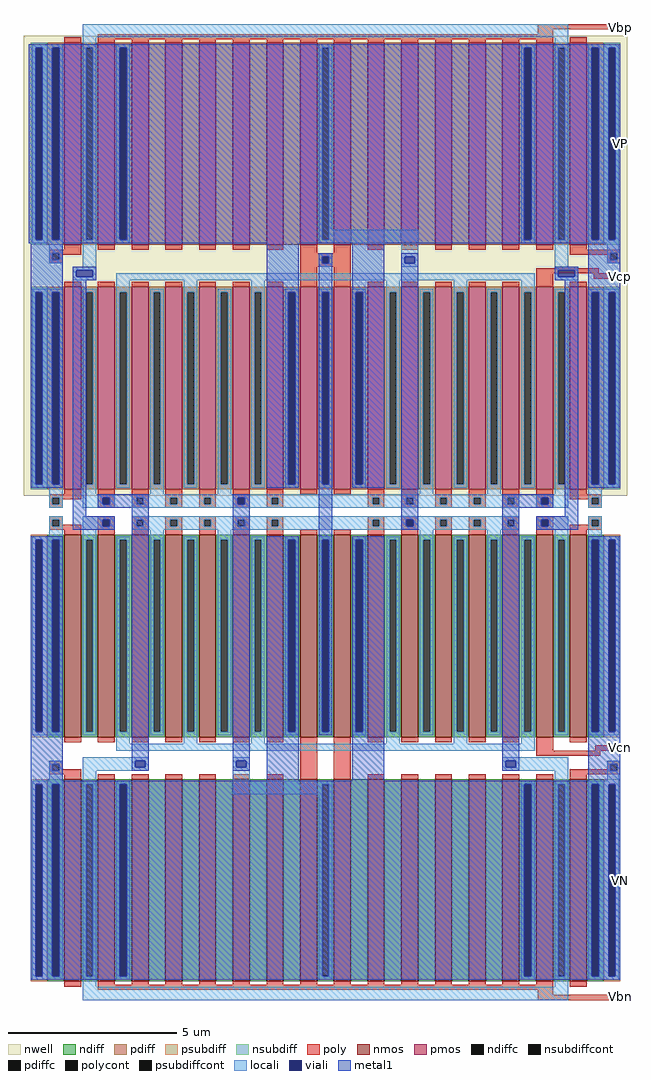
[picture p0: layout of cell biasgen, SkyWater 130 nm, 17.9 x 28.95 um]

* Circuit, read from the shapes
.subckt biasgen Vbp VP Vcp Vcn VN Vbn
XM1 Vcp VN VN VN sky130_fd_pr__nfet_01v8 w=6 l=0.5 m=2
XM2 Vcn VN VN VN sky130_fd_pr__nfet_01v8 w=6 l=0.5 m=2
XM3 VN Vbn Vcp VN sky130_fd_pr__nfet_01v8 w=6 l=0.5 m=2
XM4 n1 Vcn Vcn VN sky130_fd_pr__nfet_01v8 w=6 l=0.5 m=2
XM5 n2 Vbn VN VN sky130_fd_pr__nfet_01v8 w=6 l=0.5
XM6 n3 n3 n1 VN sky130_fd_pr__nfet_01v8 w=6 l=0.5 m=8
XM7 n4 Vbn n2 VN sky130_fd_pr__nfet_01v8 w=6 l=0.5
XM8 n5 Vbn n4 VN sky130_fd_pr__nfet_01v8 w=6 l=0.5
XM9 n6 Vbn n5 VN sky130_fd_pr__nfet_01v8 w=6 l=0.5
XM10 n7 Vbn n6 VN sky130_fd_pr__nfet_01v8 w=6 l=0.5
XM11 VN n3 n1 VN sky130_fd_pr__nfet_01v8 w=6 l=0.5 m=2
XM12 n8 Vbn n7 VN sky130_fd_pr__nfet_01v8 w=6 l=0.5
XM13 Vbp Vbn VN VN sky130_fd_pr__nfet_01v8 w=6 l=0.5 m=2
XM14 n9 Vbn n8 VN sky130_fd_pr__nfet_01v8 w=6 l=0.5
XM15 n10 Vbn n9 VN sky130_fd_pr__nfet_01v8 w=6 l=0.5
XM16 n11 Vbn n10 VN sky130_fd_pr__nfet_01v8 w=6 l=0.5
XM17 n12 Vbn n11 VN sky130_fd_pr__nfet_01v8 w=6 l=0.5
XM18 n13 Vbn n12 VN sky130_fd_pr__nfet_01v8 w=6 l=0.5
XM19 VN Vbn n13 VN sky130_fd_pr__nfet_01v8 w=6 l=0.5
XM20 Vcp VP VP VP sky130_fd_pr__pfet_01v8 w=6 l=0.5 m=2
XM21 Vcn VP VP VP sky130_fd_pr__pfet_01v8 w=6 l=0.5 m=2
XM22 n14 Vcp Vcp VP sky130_fd_pr__pfet_01v8 w=6 l=0.5 m=2
XM23 VP Vbp Vcn VP sky130_fd_pr__pfet_01v8 w=6 l=0.5 m=2
XM24 n8 n8 n14 VP sky130_fd_pr__pfet_01v8 w=6 l=0.5 m=8
XM25 n15 Vbp VP VP sky130_fd_pr__pfet_01v8 w=6 l=0.5
XM26 n16 Vbp n15 VP sky130_fd_pr__pfet_01v8 w=6 l=0.5
XM27 n17 Vbp n16 VP sky130_fd_pr__pfet_01v8 w=6 l=0.5
XM28 n18 Vbp n17 VP sky130_fd_pr__pfet_01v8 w=6 l=0.5
XM29 VP n8 n14 VP sky130_fd_pr__pfet_01v8 w=6 l=0.5 m=2
XM30 n19 Vbp n18 VP sky130_fd_pr__pfet_01v8 w=6 l=0.5
XM31 Vbp Vbp VP VP sky130_fd_pr__pfet_01v8 w=6 l=0.5 m=2
XM32 n3 Vbp n19 VP sky130_fd_pr__pfet_01v8 w=6 l=0.5
XM33 n20 Vbp n3 VP sky130_fd_pr__pfet_01v8 w=6 l=0.5
XM34 n21 Vbp n20 VP sky130_fd_pr__pfet_01v8 w=6 l=0.5
XM35 n22 Vbp n21 VP sky130_fd_pr__pfet_01v8 w=6 l=0.5
XM36 n23 Vbp n22 VP sky130_fd_pr__pfet_01v8 w=6 l=0.5
XM37 n24 Vbp n23 VP sky130_fd_pr__pfet_01v8 w=6 l=0.5
XM38 VP Vbp n24 VP sky130_fd_pr__pfet_01v8 w=6 l=0.5
.ends

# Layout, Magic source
magic
tech sky130A
<< nwell >>
rect -115 695 1675 2060
<< nmos >>
rect 5 -20 55 580
rect 105 -20 155 580
rect 205 -20 255 580
rect 305 -20 355 580
rect 405 -20 455 580
rect 505 -20 555 580
rect 605 -20 655 580
rect 705 -20 755 580
rect 805 -20 855 580
rect 905 -20 955 580
rect 1005 -20 1055 580
rect 1105 -20 1155 580
rect 1205 -20 1255 580
rect 1305 -20 1355 580
rect 1405 -20 1455 580
rect 1505 -20 1555 580
rect 5 -745 55 -145
rect 105 -745 155 -145
rect 205 -745 255 -145
rect 305 -745 355 -145
rect 405 -745 455 -145
rect 505 -745 555 -145
rect 605 -745 655 -145
rect 705 -745 755 -145
rect 805 -745 855 -145
rect 905 -745 955 -145
rect 1005 -745 1055 -145
rect 1105 -745 1155 -145
rect 1205 -745 1255 -145
rect 1305 -745 1355 -145
rect 1405 -745 1455 -145
rect 1505 -745 1555 -145
<< pmos >>
rect 5 1440 55 2040
rect 105 1440 155 2040
rect 205 1440 255 2040
rect 305 1440 355 2040
rect 405 1440 455 2040
rect 505 1440 555 2040
rect 605 1440 655 2040
rect 705 1440 755 2040
rect 805 1440 855 2040
rect 905 1440 955 2040
rect 1005 1440 1055 2040
rect 1105 1440 1155 2040
rect 1205 1440 1255 2040
rect 1305 1440 1355 2040
rect 1405 1440 1455 2040
rect 1505 1440 1555 2040
rect 5 715 55 1315
rect 105 715 155 1315
rect 205 715 255 1315
rect 305 715 355 1315
rect 405 715 455 1315
rect 505 715 555 1315
rect 605 715 655 1315
rect 705 715 755 1315
rect 805 715 855 1315
rect 905 715 955 1315
rect 1005 715 1055 1315
rect 1105 715 1155 1315
rect 1205 715 1255 1315
rect 1305 715 1355 1315
rect 1405 715 1455 1315
rect 1505 715 1555 1315
<< ndiff >>
rect -45 565 5 580
rect -45 -5 -30 565
rect -10 -5 5 565
rect -45 -20 5 -5
rect 55 565 105 580
rect 55 -5 70 565
rect 90 -5 105 565
rect 55 -20 105 -5
rect 155 565 205 580
rect 155 -5 170 565
rect 190 -5 205 565
rect 155 -20 205 -5
rect 255 565 305 580
rect 255 -5 270 565
rect 290 -5 305 565
rect 255 -20 305 -5
rect 355 565 405 580
rect 355 -5 370 565
rect 390 -5 405 565
rect 355 -20 405 -5
rect 455 565 505 580
rect 455 -5 470 565
rect 490 -5 505 565
rect 455 -20 505 -5
rect 555 565 605 580
rect 555 -5 570 565
rect 590 -5 605 565
rect 555 -20 605 -5
rect 655 565 705 580
rect 655 -5 670 565
rect 690 -5 705 565
rect 655 -20 705 -5
rect 755 565 805 580
rect 755 -5 770 565
rect 790 -5 805 565
rect 755 -20 805 -5
rect 855 565 905 580
rect 855 -5 870 565
rect 890 -5 905 565
rect 855 -20 905 -5
rect 955 565 1005 580
rect 955 -5 970 565
rect 990 -5 1005 565
rect 955 -20 1005 -5
rect 1055 565 1105 580
rect 1055 -5 1070 565
rect 1090 -5 1105 565
rect 1055 -20 1105 -5
rect 1155 565 1205 580
rect 1155 -5 1170 565
rect 1190 -5 1205 565
rect 1155 -20 1205 -5
rect 1255 565 1305 580
rect 1255 -5 1270 565
rect 1290 -5 1305 565
rect 1255 -20 1305 -5
rect 1355 565 1405 580
rect 1355 -5 1370 565
rect 1390 -5 1405 565
rect 1355 -20 1405 -5
rect 1455 565 1505 580
rect 1455 -5 1470 565
rect 1490 -5 1505 565
rect 1455 -20 1505 -5
rect 1555 565 1605 580
rect 1555 -5 1570 565
rect 1590 -5 1605 565
rect 1555 -20 1605 -5
rect -45 -160 5 -145
rect -45 -730 -30 -160
rect -10 -730 5 -160
rect -45 -745 5 -730
rect 55 -160 105 -145
rect 55 -730 70 -160
rect 90 -730 105 -160
rect 55 -745 105 -730
rect 155 -160 205 -145
rect 155 -730 170 -160
rect 190 -730 205 -160
rect 155 -745 205 -730
rect 255 -745 305 -145
rect 355 -745 405 -145
rect 455 -745 505 -145
rect 555 -745 605 -145
rect 655 -745 705 -145
rect 755 -160 805 -145
rect 755 -730 770 -160
rect 790 -730 805 -160
rect 755 -745 805 -730
rect 855 -745 905 -145
rect 955 -745 1005 -145
rect 1055 -745 1105 -145
rect 1155 -745 1205 -145
rect 1255 -745 1305 -145
rect 1355 -160 1405 -145
rect 1355 -730 1370 -160
rect 1390 -730 1405 -160
rect 1355 -745 1405 -730
rect 1455 -160 1505 -145
rect 1455 -730 1470 -160
rect 1490 -730 1505 -160
rect 1455 -745 1505 -730
rect 1555 -160 1605 -145
rect 1555 -730 1570 -160
rect 1590 -730 1605 -160
rect 1555 -745 1605 -730
<< pdiff >>
rect -45 2025 5 2040
rect -45 1455 -30 2025
rect -10 1455 5 2025
rect -45 1440 5 1455
rect 55 2025 105 2040
rect 55 1455 70 2025
rect 90 1455 105 2025
rect 55 1440 105 1455
rect 155 2025 205 2040
rect 155 1455 170 2025
rect 190 1455 205 2025
rect 155 1440 205 1455
rect 255 1440 305 2040
rect 355 1440 405 2040
rect 455 1440 505 2040
rect 555 1440 605 2040
rect 655 1440 705 2040
rect 755 2025 805 2040
rect 755 1455 770 2025
rect 790 1455 805 2025
rect 755 1440 805 1455
rect 855 1440 905 2040
rect 955 1440 1005 2040
rect 1055 1440 1105 2040
rect 1155 1440 1205 2040
rect 1255 1440 1305 2040
rect 1355 2025 1405 2040
rect 1355 1455 1370 2025
rect 1390 1455 1405 2025
rect 1355 1440 1405 1455
rect 1455 2025 1505 2040
rect 1455 1455 1470 2025
rect 1490 1455 1505 2025
rect 1455 1440 1505 1455
rect 1555 2025 1605 2040
rect 1555 1455 1570 2025
rect 1590 1455 1605 2025
rect 1555 1440 1605 1455
rect -45 1300 5 1315
rect -45 730 -30 1300
rect -10 730 5 1300
rect -45 715 5 730
rect 55 1300 105 1315
rect 55 730 70 1300
rect 90 730 105 1300
rect 55 715 105 730
rect 155 1300 205 1315
rect 155 730 170 1300
rect 190 730 205 1300
rect 155 715 205 730
rect 255 1300 305 1315
rect 255 730 270 1300
rect 290 730 305 1300
rect 255 715 305 730
rect 355 1300 405 1315
rect 355 730 370 1300
rect 390 730 405 1300
rect 355 715 405 730
rect 455 1300 505 1315
rect 455 730 470 1300
rect 490 730 505 1300
rect 455 715 505 730
rect 555 1300 605 1315
rect 555 730 570 1300
rect 590 730 605 1300
rect 555 715 605 730
rect 655 1300 705 1315
rect 655 730 670 1300
rect 690 730 705 1300
rect 655 715 705 730
rect 755 1300 805 1315
rect 755 730 770 1300
rect 790 730 805 1300
rect 755 715 805 730
rect 855 1300 905 1315
rect 855 730 870 1300
rect 890 730 905 1300
rect 855 715 905 730
rect 955 1300 1005 1315
rect 955 730 970 1300
rect 990 730 1005 1300
rect 955 715 1005 730
rect 1055 1300 1105 1315
rect 1055 730 1070 1300
rect 1090 730 1105 1300
rect 1055 715 1105 730
rect 1155 1300 1205 1315
rect 1155 730 1170 1300
rect 1190 730 1205 1300
rect 1155 715 1205 730
rect 1255 1300 1305 1315
rect 1255 730 1270 1300
rect 1290 730 1305 1300
rect 1255 715 1305 730
rect 1355 1300 1405 1315
rect 1355 730 1370 1300
rect 1390 730 1405 1300
rect 1355 715 1405 730
rect 1455 1300 1505 1315
rect 1455 730 1470 1300
rect 1490 730 1505 1300
rect 1455 715 1505 730
rect 1555 1300 1605 1315
rect 1555 730 1570 1300
rect 1590 730 1605 1300
rect 1555 715 1605 730
<< ndiffc >>
rect -30 -5 -10 565
rect 70 -5 90 565
rect 170 -5 190 565
rect 270 -5 290 565
rect 370 -5 390 565
rect 470 -5 490 565
rect 570 -5 590 565
rect 670 -5 690 565
rect 770 -5 790 565
rect 870 -5 890 565
rect 970 -5 990 565
rect 1070 -5 1090 565
rect 1170 -5 1190 565
rect 1270 -5 1290 565
rect 1370 -5 1390 565
rect 1470 -5 1490 565
rect 1570 -5 1590 565
rect -30 -730 -10 -160
rect 70 -730 90 -160
rect 170 -730 190 -160
rect 770 -730 790 -160
rect 1370 -730 1390 -160
rect 1470 -730 1490 -160
rect 1570 -730 1590 -160
<< pdiffc >>
rect -30 1455 -10 2025
rect 70 1455 90 2025
rect 170 1455 190 2025
rect 770 1455 790 2025
rect 1370 1455 1390 2025
rect 1470 1455 1490 2025
rect 1570 1455 1590 2025
rect -30 730 -10 1300
rect 70 730 90 1300
rect 170 730 190 1300
rect 270 730 290 1300
rect 370 730 390 1300
rect 470 730 490 1300
rect 570 730 590 1300
rect 670 730 690 1300
rect 770 730 790 1300
rect 870 730 890 1300
rect 970 730 990 1300
rect 1070 730 1090 1300
rect 1170 730 1190 1300
rect 1270 730 1290 1300
rect 1370 730 1390 1300
rect 1470 730 1490 1300
rect 1570 730 1590 1300
<< psubdiff >>
rect -95 565 -45 580
rect -95 -5 -80 565
rect -60 -5 -45 565
rect -95 -20 -45 -5
rect 1605 565 1655 580
rect 1605 -5 1620 565
rect 1640 -5 1655 565
rect 1605 -20 1655 -5
rect -95 -160 -45 -145
rect -95 -730 -80 -160
rect -60 -730 -45 -160
rect -95 -745 -45 -730
rect 1605 -160 1655 -145
rect 1605 -730 1620 -160
rect 1640 -730 1655 -160
rect 1605 -745 1655 -730
<< nsubdiff >>
rect -95 2025 -45 2040
rect -95 1455 -80 2025
rect -60 1455 -45 2025
rect -95 1440 -45 1455
rect 1605 2025 1655 2040
rect 1605 1455 1620 2025
rect 1640 1455 1655 2025
rect 1605 1440 1655 1455
rect -95 1300 -45 1315
rect -95 730 -80 1300
rect -60 730 -45 1300
rect -95 715 -45 730
rect 1605 1300 1655 1315
rect 1605 730 1620 1300
rect 1640 730 1655 1300
rect 1605 715 1655 730
<< psubdiffcont >>
rect -80 -5 -60 565
rect 1620 -5 1640 565
rect -80 -730 -60 -160
rect 1620 -730 1640 -160
<< nsubdiffcont >>
rect -80 1455 -60 2025
rect 1620 1455 1640 2025
rect -80 730 -60 1300
rect 1620 730 1640 1300
<< poly >>
rect 1410 2080 1655 2095
rect 1410 2065 1455 2080
rect 5 2040 55 2055
rect 105 2050 1455 2065
rect 105 2040 155 2050
rect 205 2040 255 2050
rect 305 2040 355 2050
rect 405 2040 455 2050
rect 505 2040 555 2050
rect 605 2040 655 2050
rect 705 2040 755 2050
rect 805 2040 855 2050
rect 905 2040 955 2050
rect 1005 2040 1055 2050
rect 1105 2040 1155 2050
rect 1205 2040 1255 2050
rect 1305 2040 1355 2050
rect 1405 2040 1455 2050
rect 1505 2040 1555 2055
rect 5 1425 55 1440
rect 105 1425 155 1440
rect 205 1425 255 1440
rect 305 1425 355 1440
rect 405 1425 455 1440
rect 505 1425 555 1440
rect 605 1425 655 1440
rect -40 1415 55 1425
rect -40 1395 -30 1415
rect -10 1410 55 1415
rect 705 1415 755 1440
rect 805 1415 855 1440
rect 905 1425 955 1440
rect 1005 1425 1055 1440
rect 1105 1425 1155 1440
rect 1205 1425 1255 1440
rect 1305 1425 1355 1440
rect 1405 1425 1455 1440
rect 1505 1425 1555 1440
rect -10 1395 0 1410
rect -40 1385 0 1395
rect 705 1405 855 1415
rect 1505 1415 1655 1425
rect 1505 1410 1625 1415
rect 705 1385 770 1405
rect 790 1385 855 1405
rect 1615 1395 1625 1410
rect 1645 1395 1655 1415
rect 1615 1385 1655 1395
rect 705 1375 855 1385
rect 5 1315 55 1330
rect 105 1315 155 1330
rect 205 1315 255 1330
rect 305 1315 355 1330
rect 405 1315 455 1330
rect 505 1315 555 1330
rect 605 1315 655 1330
rect 705 1315 755 1375
rect 805 1315 855 1375
rect 1405 1355 1590 1370
rect 905 1315 955 1330
rect 1005 1315 1055 1330
rect 1105 1315 1155 1330
rect 1205 1315 1255 1330
rect 1305 1315 1355 1330
rect 1405 1315 1455 1355
rect 1575 1340 1655 1355
rect 1505 1315 1555 1330
rect 5 700 55 715
rect -40 690 55 700
rect -40 670 -30 690
rect -10 685 55 690
rect 105 690 155 715
rect -10 670 0 685
rect -40 660 0 670
rect 105 670 120 690
rect 140 670 155 690
rect 105 660 155 670
rect 205 690 255 715
rect 205 670 220 690
rect 240 670 255 690
rect 205 660 255 670
rect 305 690 355 715
rect 305 670 320 690
rect 340 670 355 690
rect 305 660 355 670
rect 405 690 455 715
rect 405 670 420 690
rect 440 670 455 690
rect 405 660 455 670
rect 505 690 555 715
rect 505 670 520 690
rect 540 670 555 690
rect 505 660 555 670
rect 605 690 655 715
rect 705 700 755 715
rect 805 700 855 715
rect 605 670 620 690
rect 640 670 655 690
rect 605 660 655 670
rect 905 690 955 715
rect 905 670 920 690
rect 940 670 955 690
rect 905 660 955 670
rect 1005 690 1055 715
rect 1005 670 1020 690
rect 1040 670 1055 690
rect 1005 660 1055 670
rect 1105 690 1155 715
rect 1105 670 1120 690
rect 1140 670 1155 690
rect 1105 660 1155 670
rect 1205 690 1255 715
rect 1205 670 1220 690
rect 1240 670 1255 690
rect 1205 660 1255 670
rect 1305 690 1355 715
rect 1305 670 1320 690
rect 1340 670 1355 690
rect 1305 660 1355 670
rect 1405 690 1455 715
rect 1405 670 1420 690
rect 1440 670 1455 690
rect 1505 700 1555 715
rect 1505 690 1600 700
rect 1505 685 1570 690
rect 1405 660 1455 670
rect 1560 670 1570 685
rect 1590 670 1600 690
rect 1560 660 1600 670
rect -40 625 0 635
rect -40 605 -30 625
rect -10 610 0 625
rect 105 625 155 635
rect -10 605 55 610
rect -40 595 55 605
rect 5 580 55 595
rect 105 605 120 625
rect 140 605 155 625
rect 105 580 155 605
rect 205 625 255 635
rect 205 605 220 625
rect 240 605 255 625
rect 205 580 255 605
rect 305 625 355 635
rect 305 605 320 625
rect 340 605 355 625
rect 305 580 355 605
rect 405 625 455 635
rect 405 605 420 625
rect 440 605 455 625
rect 405 580 455 605
rect 505 625 555 635
rect 505 605 520 625
rect 540 605 555 625
rect 505 580 555 605
rect 605 625 655 635
rect 605 605 620 625
rect 640 605 655 625
rect 605 580 655 605
rect 905 625 955 635
rect 905 605 920 625
rect 940 605 955 625
rect 705 580 755 595
rect 805 580 855 595
rect 905 580 955 605
rect 1005 625 1055 635
rect 1005 605 1020 625
rect 1040 605 1055 625
rect 1005 580 1055 605
rect 1105 625 1155 635
rect 1105 605 1120 625
rect 1140 605 1155 625
rect 1105 580 1155 605
rect 1205 625 1255 635
rect 1205 605 1220 625
rect 1240 605 1255 625
rect 1205 580 1255 605
rect 1305 625 1355 635
rect 1305 605 1320 625
rect 1340 605 1355 625
rect 1305 580 1355 605
rect 1405 625 1455 635
rect 1405 605 1420 625
rect 1440 605 1455 625
rect 1560 625 1600 635
rect 1560 610 1570 625
rect 1405 580 1455 605
rect 1505 605 1570 610
rect 1590 605 1600 625
rect 1505 595 1600 605
rect 1505 580 1555 595
rect 5 -35 55 -20
rect 105 -35 155 -20
rect 205 -35 255 -20
rect 305 -35 355 -20
rect 405 -35 455 -20
rect 505 -35 555 -20
rect 605 -35 655 -20
rect -40 -100 0 -90
rect -40 -120 -30 -100
rect -10 -115 0 -100
rect -10 -120 55 -115
rect -40 -130 55 -120
rect 5 -145 55 -130
rect 105 -145 155 -130
rect 205 -145 255 -130
rect 305 -145 355 -130
rect 405 -145 455 -130
rect 505 -145 555 -130
rect 605 -145 655 -130
rect 705 -145 755 -20
rect 805 -145 855 -20
rect 905 -35 955 -20
rect 1005 -35 1055 -20
rect 1105 -35 1155 -20
rect 1205 -35 1255 -20
rect 1305 -35 1355 -20
rect 1405 -60 1455 -20
rect 1505 -35 1555 -20
rect 1580 -60 1655 -45
rect 1405 -75 1595 -60
rect 1615 -100 1655 -90
rect 1615 -115 1625 -100
rect 1505 -120 1625 -115
rect 1645 -120 1655 -100
rect 1505 -130 1655 -120
rect 905 -145 955 -130
rect 1005 -145 1055 -130
rect 1105 -145 1155 -130
rect 1205 -145 1255 -130
rect 1305 -145 1355 -130
rect 1405 -145 1455 -130
rect 1505 -145 1555 -130
rect 5 -760 55 -745
rect 105 -755 155 -745
rect 205 -755 255 -745
rect 305 -755 355 -745
rect 405 -755 455 -745
rect 505 -755 555 -745
rect 605 -755 655 -745
rect 705 -755 755 -745
rect 805 -755 855 -745
rect 905 -755 955 -745
rect 1005 -755 1055 -745
rect 1105 -755 1155 -745
rect 1205 -755 1255 -745
rect 1305 -755 1355 -745
rect 1405 -755 1455 -745
rect 105 -770 1455 -755
rect 1505 -760 1555 -745
rect 1410 -785 1455 -770
rect 1410 -800 1655 -785
<< polycont >>
rect -30 1395 -10 1415
rect 770 1385 790 1405
rect 1625 1395 1645 1415
rect -30 670 -10 690
rect 120 670 140 690
rect 220 670 240 690
rect 320 670 340 690
rect 420 670 440 690
rect 520 670 540 690
rect 620 670 640 690
rect 920 670 940 690
rect 1020 670 1040 690
rect 1120 670 1140 690
rect 1220 670 1240 690
rect 1320 670 1340 690
rect 1420 670 1440 690
rect 1570 670 1590 690
rect -30 605 -10 625
rect 120 605 140 625
rect 220 605 240 625
rect 320 605 340 625
rect 420 605 440 625
rect 520 605 540 625
rect 620 605 640 625
rect 920 605 940 625
rect 1020 605 1040 625
rect 1120 605 1140 625
rect 1220 605 1240 625
rect 1320 605 1340 625
rect 1420 605 1440 625
rect 1570 605 1590 625
rect -30 -120 -10 -100
rect 1625 -120 1645 -100
<< locali >>
rect 60 2055 1500 2095
rect -90 2025 0 2035
rect -90 1455 -80 2025
rect -60 1455 -30 2025
rect -10 1455 0 2025
rect -90 1445 0 1455
rect -40 1415 0 1445
rect -40 1395 -30 1415
rect -10 1395 0 1415
rect -40 1385 0 1395
rect 60 2025 100 2055
rect 60 1455 70 2025
rect 90 1455 100 2025
rect 60 1375 100 1455
rect 160 2025 200 2035
rect 160 1455 170 2025
rect 190 1455 200 2025
rect 160 1445 200 1455
rect 760 2025 800 2035
rect 760 1455 770 2025
rect 790 1485 800 2025
rect 1360 2025 1400 2035
rect 790 1455 1055 1485
rect 760 1445 1055 1455
rect 1360 1455 1370 2025
rect 1390 1455 1400 2025
rect 1360 1445 1400 1455
rect 1460 2025 1500 2055
rect 1460 1455 1470 2025
rect 1490 1455 1500 2025
rect 760 1405 800 1415
rect 760 1385 770 1405
rect 790 1385 800 1405
rect 760 1375 800 1385
rect 1005 1405 1055 1445
rect 1005 1385 1015 1405
rect 1045 1385 1055 1405
rect 1005 1375 1055 1385
rect 1460 1375 1500 1455
rect 1560 2025 1650 2035
rect 1560 1455 1570 2025
rect 1590 1455 1620 2025
rect 1640 1455 1650 2025
rect 1560 1445 1650 1455
rect 1615 1425 1650 1445
rect 1615 1415 1655 1425
rect 1615 1395 1625 1415
rect 1645 1395 1655 1415
rect 1615 1385 1655 1395
rect 30 1365 100 1375
rect 30 1345 40 1365
rect 90 1345 100 1365
rect 1460 1365 1530 1375
rect 30 1335 100 1345
rect 160 1335 1400 1355
rect 1460 1345 1470 1365
rect 1520 1345 1530 1365
rect 1460 1335 1530 1345
rect -90 1300 0 1310
rect -90 730 -80 1300
rect -60 730 -30 1300
rect -10 730 0 1300
rect -90 720 0 730
rect -40 690 0 720
rect -40 670 -30 690
rect -10 670 0 690
rect -40 660 0 670
rect 60 1300 100 1310
rect 60 730 70 1300
rect 90 730 100 1300
rect 60 700 100 730
rect 160 1300 200 1335
rect 160 730 170 1300
rect 190 730 200 1300
rect 160 720 200 730
rect 260 1300 300 1310
rect 260 730 270 1300
rect 290 730 300 1300
rect 260 700 300 730
rect 360 1300 400 1335
rect 360 730 370 1300
rect 390 730 400 1300
rect 360 720 400 730
rect 460 1300 500 1310
rect 460 730 470 1300
rect 490 730 500 1300
rect 460 700 500 730
rect 560 1300 600 1335
rect 560 730 570 1300
rect 590 730 600 1300
rect 560 720 600 730
rect 660 1300 700 1310
rect 660 730 670 1300
rect 690 730 700 1300
rect 660 720 700 730
rect 760 1300 800 1310
rect 760 730 770 1300
rect 790 730 800 1300
rect 760 720 800 730
rect 860 1300 900 1310
rect 860 730 870 1300
rect 890 730 900 1300
rect 860 720 900 730
rect 960 1300 1000 1335
rect 960 730 970 1300
rect 990 730 1000 1300
rect 960 720 1000 730
rect 1060 1300 1100 1310
rect 1060 730 1070 1300
rect 1090 730 1100 1300
rect 1060 700 1100 730
rect 1160 1300 1200 1335
rect 1160 730 1170 1300
rect 1190 730 1200 1300
rect 1160 720 1200 730
rect 1260 1300 1300 1310
rect 1260 730 1270 1300
rect 1290 730 1300 1300
rect 1260 700 1300 730
rect 1360 1300 1400 1335
rect 1360 730 1370 1300
rect 1390 730 1400 1300
rect 1360 720 1400 730
rect 1460 1300 1500 1310
rect 1460 730 1470 1300
rect 1490 730 1500 1300
rect 1460 700 1500 730
rect 60 690 155 700
rect 60 670 120 690
rect 140 670 155 690
rect 60 660 155 670
rect 205 690 1355 700
rect 205 670 220 690
rect 240 670 320 690
rect 340 670 420 690
rect 440 670 520 690
rect 540 670 620 690
rect 640 670 920 690
rect 940 670 1020 690
rect 1040 670 1120 690
rect 1140 670 1220 690
rect 1240 670 1320 690
rect 1340 670 1355 690
rect 205 660 1355 670
rect 1405 690 1500 700
rect 1405 670 1420 690
rect 1440 670 1500 690
rect 1405 660 1500 670
rect 1560 1300 1650 1310
rect 1560 730 1570 1300
rect 1590 730 1620 1300
rect 1640 730 1650 1300
rect 1560 720 1650 730
rect 1560 690 1600 720
rect 1560 670 1570 690
rect 1590 670 1600 690
rect 1560 660 1600 670
rect -40 625 0 635
rect -40 605 -30 625
rect -10 605 0 625
rect -40 575 0 605
rect -90 565 0 575
rect -90 -5 -80 565
rect -60 -5 -30 565
rect -10 -5 0 565
rect -90 -15 0 -5
rect 60 625 155 635
rect 60 605 120 625
rect 140 605 155 625
rect 60 595 155 605
rect 205 625 1355 635
rect 205 605 220 625
rect 240 605 320 625
rect 340 605 420 625
rect 440 605 520 625
rect 540 605 620 625
rect 640 605 920 625
rect 940 605 1020 625
rect 1040 605 1120 625
rect 1140 605 1220 625
rect 1240 605 1320 625
rect 1340 605 1355 625
rect 205 595 1355 605
rect 1405 625 1500 635
rect 1405 605 1420 625
rect 1440 605 1500 625
rect 1405 595 1500 605
rect 60 565 100 595
rect 60 -5 70 565
rect 90 -5 100 565
rect 60 -15 100 -5
rect 160 565 200 575
rect 160 -5 170 565
rect 190 -5 200 565
rect 160 -40 200 -5
rect 260 565 300 595
rect 260 -5 270 565
rect 290 -5 300 565
rect 260 -15 300 -5
rect 360 565 400 575
rect 360 -5 370 565
rect 390 -5 400 565
rect 360 -40 400 -5
rect 460 565 500 595
rect 460 -5 470 565
rect 490 -5 500 565
rect 460 -15 500 -5
rect 560 565 600 575
rect 560 -5 570 565
rect 590 -5 600 565
rect 560 -40 600 -5
rect 660 565 700 575
rect 660 -5 670 565
rect 690 -5 700 565
rect 660 -15 700 -5
rect 760 565 800 575
rect 760 -5 770 565
rect 790 -5 800 565
rect 760 -15 800 -5
rect 860 565 900 575
rect 860 -5 870 565
rect 890 -5 900 565
rect 860 -15 900 -5
rect 960 565 1000 575
rect 960 -5 970 565
rect 990 -5 1000 565
rect 960 -40 1000 -5
rect 1060 565 1100 595
rect 1060 -5 1070 565
rect 1090 -5 1100 565
rect 1060 -15 1100 -5
rect 1160 565 1200 575
rect 1160 -5 1170 565
rect 1190 -5 1200 565
rect 1160 -40 1200 -5
rect 1260 565 1300 595
rect 1260 -5 1270 565
rect 1290 -5 1300 565
rect 1260 -15 1300 -5
rect 1360 565 1400 575
rect 1360 -5 1370 565
rect 1390 -5 1400 565
rect 1360 -40 1400 -5
rect 1460 565 1500 595
rect 1460 -5 1470 565
rect 1490 -5 1500 565
rect 1460 -15 1500 -5
rect 1560 625 1600 635
rect 1560 605 1570 625
rect 1590 605 1600 625
rect 1560 575 1600 605
rect 1560 565 1650 575
rect 1560 -5 1570 565
rect 1590 -5 1620 565
rect 1640 -5 1650 565
rect 1560 -15 1650 -5
rect 160 -60 1400 -40
rect 60 -90 255 -80
rect -40 -100 0 -90
rect -40 -120 -30 -100
rect -10 -120 0 -100
rect -40 -150 0 -120
rect -90 -160 0 -150
rect -90 -730 -80 -160
rect -60 -730 -30 -160
rect -10 -730 0 -160
rect -90 -740 0 -730
rect 60 -110 215 -90
rect 245 -110 255 -90
rect 60 -120 255 -110
rect 505 -90 555 -80
rect 505 -110 515 -90
rect 545 -110 555 -90
rect 60 -160 100 -120
rect 505 -150 555 -110
rect 1305 -90 1500 -80
rect 1305 -110 1315 -90
rect 1345 -110 1500 -90
rect 1305 -120 1500 -110
rect 60 -730 70 -160
rect 90 -730 100 -160
rect 60 -760 100 -730
rect 160 -160 200 -150
rect 160 -730 170 -160
rect 190 -730 200 -160
rect 505 -160 800 -150
rect 505 -190 770 -160
rect 160 -740 200 -730
rect 760 -730 770 -190
rect 790 -730 800 -160
rect 760 -740 800 -730
rect 1360 -160 1400 -150
rect 1360 -730 1370 -160
rect 1390 -730 1400 -160
rect 1360 -740 1400 -730
rect 1460 -160 1500 -120
rect 1615 -100 1655 -90
rect 1615 -120 1625 -100
rect 1645 -120 1655 -100
rect 1615 -130 1655 -120
rect 1615 -150 1650 -130
rect 1460 -730 1470 -160
rect 1490 -730 1500 -160
rect 1460 -760 1500 -730
rect 1560 -160 1650 -150
rect 1560 -730 1570 -160
rect 1590 -730 1620 -160
rect 1640 -730 1650 -160
rect 1560 -740 1650 -730
rect 60 -800 1500 -760
<< viali >>
rect -80 1455 -60 2025
rect -30 1455 -10 2025
rect 170 1455 190 2025
rect 1370 1455 1390 2025
rect 770 1385 790 1405
rect 1015 1385 1045 1405
rect 1570 1455 1590 2025
rect 1620 1455 1640 2025
rect 40 1345 90 1365
rect 1470 1345 1520 1365
rect -80 730 -60 1300
rect -30 730 -10 1300
rect 670 730 690 1300
rect 770 730 790 1300
rect 870 730 890 1300
rect 120 670 140 690
rect 520 670 540 690
rect 1420 670 1440 690
rect 1570 730 1590 1300
rect 1620 730 1640 1300
rect -80 -5 -60 565
rect -30 -5 -10 565
rect 120 605 140 625
rect 1020 605 1040 625
rect 1420 605 1440 625
rect 670 -5 690 565
rect 770 -5 790 565
rect 870 -5 890 565
rect 1570 -5 1590 565
rect 1620 -5 1640 565
rect -80 -730 -60 -160
rect -30 -730 -10 -160
rect 215 -110 245 -90
rect 515 -110 545 -90
rect 1315 -110 1345 -90
rect 170 -730 190 -160
rect 1370 -730 1390 -160
rect 1570 -730 1590 -160
rect 1620 -730 1640 -160
<< metal1 >>
rect -100 2025 1655 2035
rect -100 1455 -80 2025
rect -60 1455 -30 2025
rect -10 1455 170 2025
rect 190 1455 1370 2025
rect 1390 1455 1570 2025
rect 1590 1455 1620 2025
rect 1640 1455 1655 2025
rect -100 1445 1655 1455
rect -95 1300 0 1445
rect -95 730 -80 1300
rect -60 730 -30 1300
rect -10 730 0 1300
rect -95 720 0 730
rect 30 1365 100 1375
rect 30 1345 40 1365
rect 90 1345 100 1365
rect 30 1335 100 1345
rect 30 635 70 1335
rect 605 1300 700 1445
rect 605 730 670 1300
rect 690 730 700 1300
rect 605 720 700 730
rect 760 1405 800 1415
rect 760 1385 770 1405
rect 790 1385 800 1405
rect 760 1300 800 1385
rect 760 730 770 1300
rect 790 730 800 1300
rect 105 690 255 700
rect 105 670 120 690
rect 140 670 255 690
rect 105 660 255 670
rect 30 625 155 635
rect 30 605 120 625
rect 140 605 155 625
rect 30 595 155 605
rect -95 565 0 575
rect -95 -5 -80 565
rect -60 -5 -30 565
rect -10 -5 0 565
rect -95 -150 0 -5
rect 205 -90 255 660
rect 205 -110 215 -90
rect 245 -110 255 -90
rect 205 -120 255 -110
rect 505 690 555 700
rect 505 670 520 690
rect 540 670 555 690
rect 505 -90 555 670
rect 505 -110 515 -90
rect 545 -110 555 -90
rect 505 -120 555 -110
rect 605 565 700 575
rect 605 -5 670 565
rect 690 -5 700 565
rect 605 -150 700 -5
rect 760 565 800 730
rect 860 1300 955 1445
rect 860 730 870 1300
rect 890 730 955 1300
rect 860 720 955 730
rect 1005 1405 1055 1415
rect 1005 1385 1015 1405
rect 1045 1385 1055 1405
rect 1005 625 1055 1385
rect 1460 1365 1530 1375
rect 1460 1345 1470 1365
rect 1520 1345 1530 1365
rect 1460 1335 1530 1345
rect 1005 605 1020 625
rect 1040 605 1055 625
rect 1005 595 1055 605
rect 1305 690 1455 700
rect 1305 670 1420 690
rect 1440 670 1455 690
rect 1305 660 1455 670
rect 760 -5 770 565
rect 790 -5 800 565
rect 760 -15 800 -5
rect 860 565 955 575
rect 860 -5 870 565
rect 890 -5 955 565
rect 860 -150 955 -5
rect 1305 -90 1355 660
rect 1490 635 1530 1335
rect 1560 1300 1655 1445
rect 1560 730 1570 1300
rect 1590 730 1620 1300
rect 1640 730 1655 1300
rect 1560 720 1655 730
rect 1405 625 1530 635
rect 1405 605 1420 625
rect 1440 605 1530 625
rect 1405 595 1530 605
rect 1305 -110 1315 -90
rect 1345 -110 1355 -90
rect 1305 -120 1355 -110
rect 1560 565 1655 575
rect 1560 -5 1570 565
rect 1590 -5 1620 565
rect 1640 -5 1655 565
rect 1560 -150 1655 -5
rect -95 -160 1655 -150
rect -95 -730 -80 -160
rect -60 -730 -30 -160
rect -10 -730 170 -160
rect 190 -730 1370 -160
rect 1390 -730 1570 -160
rect 1590 -730 1620 -160
rect 1640 -730 1655 -160
rect -95 -740 1655 -730
<< labels >>
rlabel poly 1655 2085 1655 2085 3 Vbp
port 1 e
rlabel metal1 1655 1740 1655 1740 3 VP
port 2 e
rlabel poly 1655 1345 1655 1345 3 Vcp
port 3 e
rlabel poly 1655 -50 1655 -50 3 Vcn
port 4 e
rlabel metal1 1655 -445 1655 -445 3 VN
port 5 e
rlabel poly 1655 -790 1655 -790 3 Vbn
port 6 e
<< end >>
